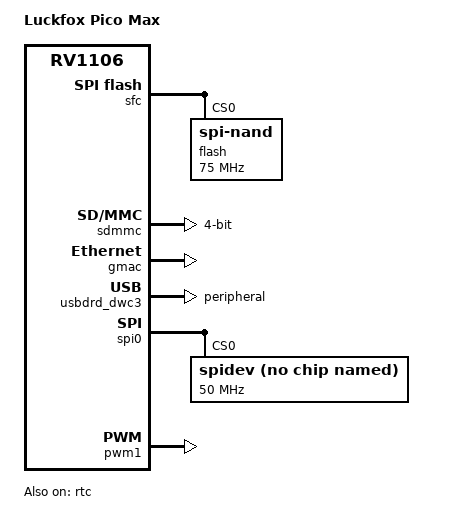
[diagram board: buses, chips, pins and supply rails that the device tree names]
// SPDX-License-Identifier: (GPL-2.0+ OR MIT)
/*
 * Copyright (c) 2022 Rockchip Electronics Co., Ltd.
 */

/dts-v1/;

#include "rv1106.dtsi"
#include "rv1106-evb.dtsi"
#include "rv1106-luckfox-pico-pro-max-ipc.dtsi"

/ {
	model = "Luckfox Pico Max";
	compatible = "rockchip,rv1103g-38x38-ipc-v10", "rockchip,rv1106";
};

/**********FLASH**********/
&sfc {
	status = "okay";
	flash@0 {
		compatible = "spi-nand";
		reg = <0>;
		spi-max-frequency = <75000000>;
		spi-rx-bus-width = <4>;
		spi-tx-bus-width = <1>;
	};
	
};

/**********SDMMC**********/
&sdmmc {
	max-frequency = <50000000>;
	no-sdio;
	no-mmc;
	bus-width = <4>;
	cap-mmc-highspeed;
	cap-sd-highspeed;
	disable-wp;
	pinctrl-names = "default";
	pinctrl-0 = <&sdmmc0_clk &sdmmc0_cmd &sdmmc0_det &sdmmc0_bus4>;
	status = "okay";
};

/**********ETH**********/
&gmac {
	status = "okay";
};

/**********USB**********/
&usbdrd_dwc3 {
	status = "okay";
	dr_mode = "peripheral";
};

/**********SPI**********/
&spi0 {
	status = "okay";
	#address-cells = <1>;
	#size-cells = <0>;
	spidev@0 {
		compatible = "rockchip,spidev";
		spi-max-frequency = <50000000>;
		reg = <0>;
	};
};

/**********I2C**********/
/* I2C3_M1 */
&i2c3 {
	status = "disabled";
	clock-frequency = <100000>;
};

/* I2C1_M1 */
&i2c1 {
	status = "disabled";
	clock-frequency = <100000>;
};


/**********UART**********/
/* UART3_M1 */
&uart3 {
	status = "disabled";
};

/* UART4_M1 */
&uart4 {
	status = "disabled";
};

/**********PWM**********/
/* PWM5_M1 */
&pwm1 {
	status = "okay";
};

/**********RTC**********/
&rtc {
	status = "okay";
};


